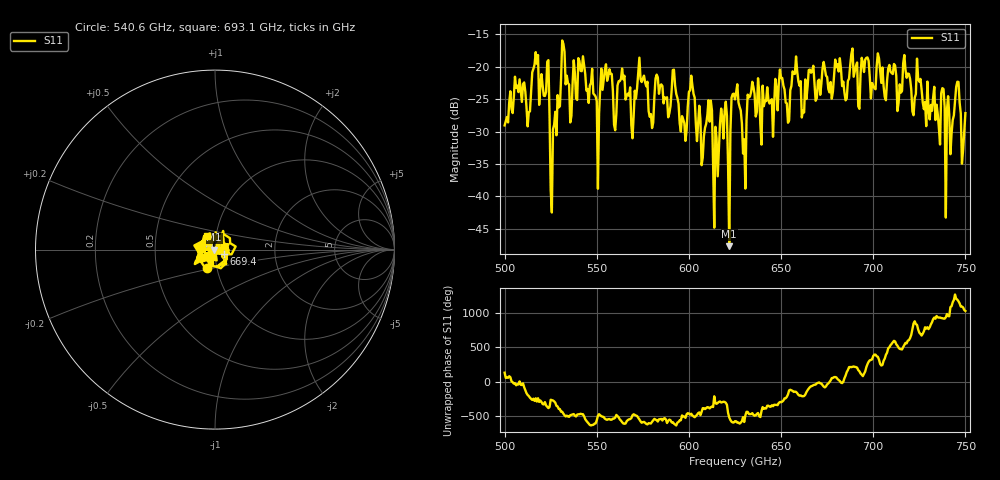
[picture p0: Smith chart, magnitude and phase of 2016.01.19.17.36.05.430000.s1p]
!Created with skrf (http://scikit-rf.org).
# GHz S RI R 50.0
!freq ReS11 ImS11
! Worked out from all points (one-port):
!   401 points, 500 GHz to 750 GHz, reference 50 ohm
!   lowest |S11| = -47.7 dB at 621.9 GHz (marker M1), VSWR 1.01, Z = 49.6 - j0.119 ohm
!   |S11| at or under -10 dB: start of sweep to end of sweep
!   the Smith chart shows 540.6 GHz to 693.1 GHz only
!   S11 on the Smith chart (normalised r, x): 540.6 GHz: 0.89, -0.18; 669.4 GHz: 1.11, -0.05; 693.1 GHz: 0.91, +0.14
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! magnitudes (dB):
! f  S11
! 500 GHz  -29.1
! 506.9 GHz  -22.9
! 513.1 GHz  -27.0
! 516.9 GHz  -17.7
! 523.1 GHz  -19.2
! 526.2 GHz  -29.6
! 531.2 GHz  -15.9
! 540.6 GHz  -19.2
! 550 GHz  -25.3
! 553.8 GHz  -22.1
! 560 GHz  -29.8
! 562.5 GHz  -22.2
! 593.8 GHz  -24.8
! 601.9 GHz  -22.9
! 608.1 GHz  -30.7
! 611.2 GHz  -28.5
! 614.4 GHz  -29.3
! 618.8 GHz  -31.1
! 621.9 GHz  -47.7
! 625 GHz  -25.0
! 630 GHz  -31.2
! 633.1 GHz  -24.6
! 656.2 GHz  -20.7
! 669.4 GHz  -24.9
! 687.5 GHz  -19.8
! 693.1 GHz  -21.1
! 718.8 GHz  -21.1
! 750 GHz  -27.2
